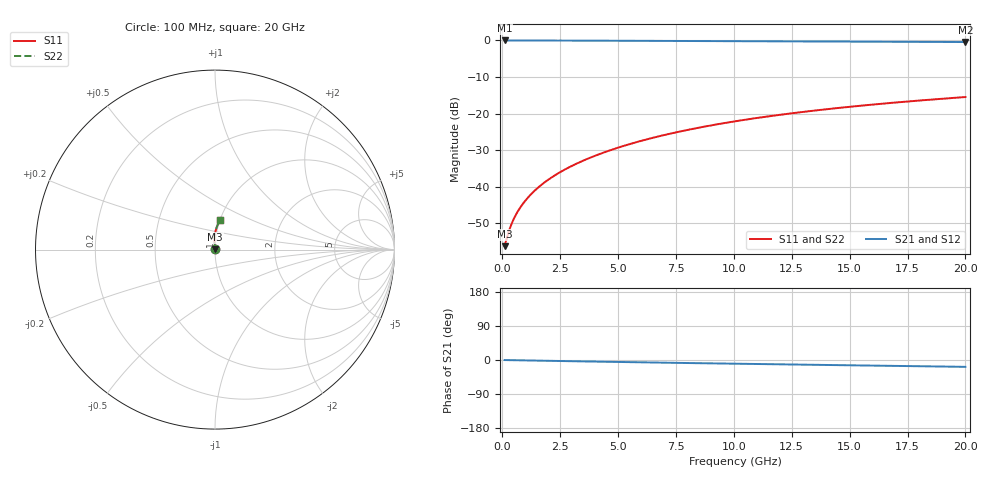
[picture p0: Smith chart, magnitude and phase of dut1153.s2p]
! Touchstone file exported from HFSS 2024.1.0
!  File:  C:/UserFiles/LocalFiles/RDL_TSV_Batchsim/temp_RDL_top_1153_1780048249.aedt
!  Generated:  05:52:45 PM May 29, 2026
!  Design:  RDL_top
!  Project:  temp_RDL_top_1153_1780048249
!  Setup:  Setup1
!  Solution:  Sweep
! Variables:
!  dtsv = 10.80580581um
!  hbump = 3um
!  htsv = 77.84um
!  ldown = 100um
!  lrdl = 241.87um
!  p = 40
!  p1 = 50.52um
!  rhole = 1um
!  t = 450um
!  tdown = 3.915915916um
!  trdl = 2.85um
!  wdown = 15.38538539um
!  wrdl = 28.95um
# GHz S MA R 50.000000
! Terminal data exported
! Port[1] = Box2_T1
! Port[2] = Box2_T2
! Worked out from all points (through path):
!   200 points, 100 MHz to 20 GHz, reference 50 ohm
!   highest |S21| = -0.01 dB at 100 MHz (marker M1); lowest = -0.4 dB at 20 GHz (marker M2)
!   group delay of S21, straight-line fit = 2.47 ps
!   lowest |S11| = -56.2 dB at 100 MHz (marker M3), VSWR 1.00, Z = 50.1 + j0.073 ohm
!   |S11| at or under -10 dB: start of sweep to end of sweep
!   |S22| runs from -56.2 to -15.5 dB; largest |S21 - S12| = 3e-15
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0.1  0.001542 28.2  0.9986 -0.1  0.9986 -0.1  0.001542 28.2
! Gamma 0 0 0 0
! Port Impedance 50 0 50 0
0.2  0.002013 45.0  0.9985 -0.2  0.9985 -0.2  0.002013 45.0
0.3  0.002556 54.2  0.9984 -0.3  0.9984 -0.3  0.002556 54.2
0.4  0.00311 60.1  0.9983 -0.4  0.9983 -0.4  0.00311 60.1
0.5  0.003662 64.3  0.9982 -0.6  0.9982 -0.6  0.003662 64.3
0.6  0.004216 67.6  0.9981 -0.7  0.9981 -0.7  0.004216 67.6
0.8  0.005338 72.6  0.998 -0.9  0.998 -0.9  0.005338 72.6
1  0.006485 76.2  0.9978 -1.1  0.9978 -1.1  0.006485 76.2
1.2  0.007659 78.9  0.9976 -1.3  0.9976 -1.3  0.007659 78.9
1.7  0.0107 83.7  0.997 -1.8  0.997 -1.8  0.0107 83.7
2.2  0.01387 86.8  0.9962 -2.4  0.9962 -2.4  0.01387 86.8
2.8  0.01787 89.3  0.995 -3.0  0.995 -3.0  0.01787 89.3
3.5  0.02279 91.2  0.9935 -3.7  0.9935 -3.7  0.02279 91.2
4.2  0.02798 92.5  0.9917 -4.4  0.9917 -4.4  0.02798 92.5
5  0.03422 93.3  0.9895 -5.2  0.9895 -5.2  0.03422 93.3
6.8  0.04926 93.6  0.9842 -6.9  0.9842 -6.9  0.04925 93.6
8.4  0.06341 92.7  0.9795 -8.4  0.9795 -8.4  0.06341 92.7
10.1  0.07887 91.2  0.9747 -9.8  0.9747 -9.8  0.07887 91.2
11.7  0.09358 89.5  0.9704 -11.2  0.9704 -11.2  0.09357 89.5
13.4  0.1092 87.6  0.9661 -12.6  0.9661 -12.6  0.1092 87.6
16.7  0.1391 83.9  0.958 -15.4  0.958 -15.4  0.1391 83.9
20  0.1683 80.3  0.9503 -18.1  0.9503 -18.1  0.1683 80.3
